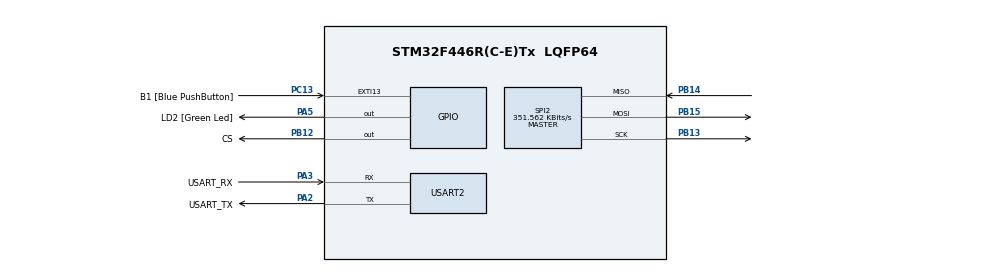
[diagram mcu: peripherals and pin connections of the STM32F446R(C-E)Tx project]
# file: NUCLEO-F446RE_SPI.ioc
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Mcu.Family=STM32F4
Mcu.Name=STM32F446R(C-E)Tx
Mcu.Package=LQFP64
NVIC.PriorityGroup=NVIC_PRIORITYGROUP_0
PA13.GPIO_Label=TMS
PA13.Mode=Serial_Wire
PA13.Signal=SYS_JTMS-SWDIO
PA14.GPIO_Label=TCK
PA14.Mode=Serial_Wire
PA14.Signal=SYS_JTCK-SWCLK
PA2.GPIO_Label=USART_TX
PA2.Mode=Asynchronous
PA2.Signal=USART2_TX
PA3.GPIO_Label=USART_RX
PA3.Mode=Asynchronous
PA3.Signal=USART2_RX
PA5.GPIO_Label=LD2 [Green Led]
PA5.Signal=GPIO_Output
PB12.GPIO_Label=CS
PB12.GPIO_Speed=GPIO_SPEED_FREQ_HIGH
PB12.Signal=GPIO_Output
PB13.Mode=Full_Duplex_Master
PB13.Signal=SPI2_SCK
PB14.Mode=Full_Duplex_Master
PB14.Signal=SPI2_MISO
PB15.Mode=Full_Duplex_Master
PB15.Signal=SPI2_MOSI
PB3.GPIO_Label=SWO
PB3.Signal=SYS_JTDO-SWO
PC13.GPIO_Label=B1 [Blue PushButton]
PC13.GPIO_ModeDefaultEXTI=GPIO_MODE_IT_FALLING
PC13.Signal=GPXTI13
PC14-OSC32_IN.Mode=LSE-External-Oscillator
PC14-OSC32_IN.Signal=RCC_OSC32_IN
PC15-OSC32_OUT.Mode=LSE-External-Oscillator
PC15-OSC32_OUT.Signal=RCC_OSC32_OUT
PH0-OSC_IN.Mode=HSE-External-Oscillator
PH0-OSC_IN.Signal=RCC_OSC_IN
PH1-OSC_OUT.Mode=HSE-External-Oscillator
PH1-OSC_OUT.Signal=RCC_OSC_OUT
ProjectManager.HeapSize=0x200
ProjectManager.StackSize=0x400
ProjectManager.TargetToolchain=STM32CubeIDE
RCC.48MHZClocksFreq_Value=84000000
RCC.AHBFreq_Value=180000000
RCC.APB1CLKDivider=RCC_HCLK_DIV4
RCC.APB1Freq_Value=45000000
RCC.APB1TimFreq_Value=90000000
RCC.APB2CLKDivider=RCC_HCLK_DIV2
RCC.APB2Freq_Value=90000000
RCC.APB2TimFreq_Value=180000000
RCC.CortexFreq_Value=180000000
RCC.FLatency-AdvancedSettings=FLASH_LATENCY_5
RCC.HCLKFreq_Value=180000000
RCC.HSE_VALUE=8000000
RCC.HSI_VALUE=16000000
RCC.PLLN=360
RCC.SYSCLKFreq_VALUE=180000000
RCC.SYSCLKSource=RCC_SYSCLKSOURCE_PLLCLK
RCC.USBFreq_Value=180000000
RCC.VCOOutputFreq_Value=360000000
SPI2.BaudRatePrescaler=SPI_BAUDRATEPRESCALER_128
SPI2.CalculateBaudRate=351.562 KBits/s
SPI2.Direction=SPI_DIRECTION_2LINES
SPI2.Mode=SPI_MODE_MASTER
SPI2.VirtualType=VM_MASTER
USART2.VirtualMode=VM_ASYNC
board=NUCLEO-F446RE

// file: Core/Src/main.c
/* USER CODE BEGIN Header */
/**
  ******************************************************************************
  * @file           : main.c
  * @brief          : Main program body
  ******************************************************************************
  * @attention
  *
  * <h2><center>&copy; Copyright (c) 2021 STMicroelectronics.
  * All rights reserved.</center></h2>
  *
  * This software component is licensed by ST under BSD 3-Clause license,
  * the "License"; You may not use this file except in compliance with the
  * License. You may obtain a copy of the License at:
  *                        opensource.org/licenses/BSD-3-Clause
  *
  ******************************************************************************
  */
/* USER CODE END Header */
#include "main.h"
#include "spi.h"
#include "usart.h"
#include "gpio.h"

/* USER CODE BEGIN Includes */
#include <stdio.h>
#include "monitor.h"
/* USER CODE END Includes */

/* USER CODE BEGIN PV */
char sram_buf[65536];
char *sram = sram_buf;
/* USER CODE END PV */

void SystemClock_Config(void);

/* USER CODE BEGIN 0 */
int __io_putchar (int ch)
{
	while ((USART2->SR & USART_SR_TXE) != USART_SR_TXE)
		;
	USART2->DR = ch;
	return ch;
}

int __io_getchar (void)
{
	while (!(USART2->SR & USART_SR_RXNE))
		;
	return USART2->DR;
}

int getchar_pol(void)
{
	if (USART2->SR & USART_SR_RXNE) {
		return USART2->DR;
	} else {
		return -1;
	}
}

/* XMODEM serial I/O
 * the prototypes of the input/output functions are:
 * int _inbyte(unsigned short timeout); // msec timeout
 * void _outbyte(int c);
 */

int _inbyte (int timeout)
{
	long tm = timeout * 4000;
	while (tm-- > 0) {
		if ((USART2->SR & USART_SR_RXNE) != 0) {
			return USART2->DR & 0xff;
		}
		//for (int volatile i = 0; i < 1; ++i);
	}
	return -1;
}

void _outbyte (int c)
{
	__io_putchar (c);
}

void myDelay (int counts)
{
	long ctr = counts * 10;
	while (ctr-- > 0);
}
/* USER CODE END 0 */

int main(void)
{

  /* MCU Configuration--------------------------------------------------------*/

  /* Reset of all peripherals, Initializes the Flash interface and the Systick. */

  LL_APB2_GRP1_EnableClock(LL_APB2_GRP1_PERIPH_SYSCFG);
  LL_APB1_GRP1_EnableClock(LL_APB1_GRP1_PERIPH_PWR);

  NVIC_SetPriorityGrouping(NVIC_PRIORITYGROUP_0);

  /* System interrupt init*/

  /* Configure the system clock */
  SystemClock_Config();

  /* Initialize all configured peripherals */
  MX_GPIO_Init();
  MX_USART2_UART_Init();
  MX_SPI2_Init();
  /* USER CODE BEGIN 2 */
  setbuf (stdout, NULL);
  setbuf (stdin, NULL);

  /* USER CODE END 2 */

  /* Infinite loop */
  while (1)
  {

    /* USER CODE BEGIN 3 */
	  monitor (sram, NULL);
  }
  /* USER CODE END 3 */
}

void SystemClock_Config(void)
{
  LL_FLASH_SetLatency(LL_FLASH_LATENCY_5);
  while(LL_FLASH_GetLatency()!= LL_FLASH_LATENCY_5)
  {
  }
  LL_PWR_SetRegulVoltageScaling(LL_PWR_REGU_VOLTAGE_SCALE1);
  LL_PWR_EnableOverDriveMode();
  LL_RCC_HSI_SetCalibTrimming(16);
  LL_RCC_HSI_Enable();

   /* Wait till HSI is ready */
  while(LL_RCC_HSI_IsReady() != 1)
  {

  }
  LL_RCC_PLL_ConfigDomain_SYS(LL_RCC_PLLSOURCE_HSI, LL_RCC_PLLM_DIV_16, 360, LL_RCC_PLLP_DIV_2);
  LL_RCC_PLL_Enable();

   /* Wait till PLL is ready */
  while(LL_RCC_PLL_IsReady() != 1)
  {

  }
  LL_RCC_SetAHBPrescaler(LL_RCC_SYSCLK_DIV_1);
  LL_RCC_SetAPB1Prescaler(LL_RCC_APB1_DIV_4);
  LL_RCC_SetAPB2Prescaler(LL_RCC_APB2_DIV_2);
  LL_RCC_SetSysClkSource(LL_RCC_SYS_CLKSOURCE_PLL);

   /* Wait till System clock is ready */
  while(LL_RCC_GetSysClkSource() != LL_RCC_SYS_CLKSOURCE_STATUS_PLL)
  {

  }
  LL_Init1msTick(180000000);
  LL_SetSystemCoreClock(180000000);
  LL_RCC_SetTIMPrescaler(LL_RCC_TIM_PRESCALER_TWICE);
}

void Error_Handler(void)
{
}

/************************ (C) COPYRIGHT STMicroelectronics *****END OF FILE****/
